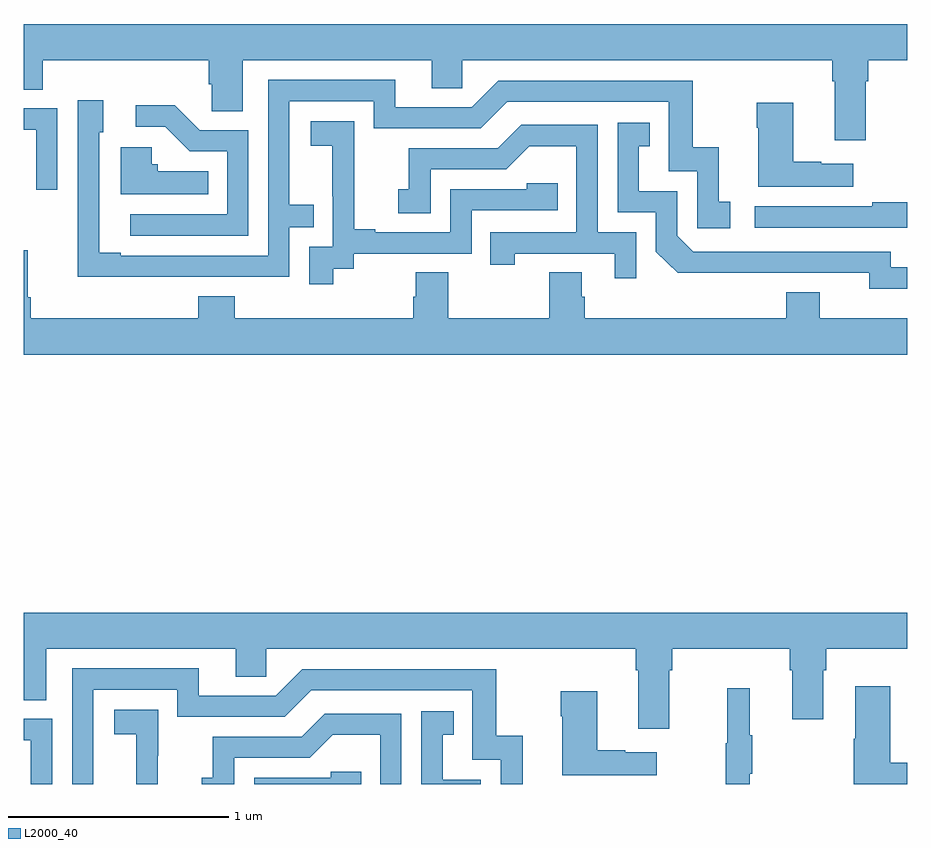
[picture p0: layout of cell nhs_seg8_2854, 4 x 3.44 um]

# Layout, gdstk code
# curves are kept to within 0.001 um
import gdstk
lib = gdstk.Library(unit=1e-6, precision=1e-09)
def P(c, l, *ps):  # polygons
    for p in ps: c.add(gdstk.Polygon(p, *l))
L2000_40 = (2000, 40)

nhs_seg8_2854 = lib.new_cell('nhs_seg8_2854')
P(nhs_seg8_2854, L2000_40, [(294.811,1107.08),(294.824,1107.08),(294.824,1107.176),(295,1107.176),(295,1107.34),(291,1107.34),(291,1107.043),(291.086,1107.043),(291.086,1107.176),(291.839,1107.176),(291.839,1107.067),(291.852,1107.067),(291.852,1106.944),(291.991,1106.944),(291.991,1107.176),(292.847,1107.176),(292.847,1107.049),(292.986,1107.049),(292.986,1107.176),(294.659,1107.176),(294.659,1107.08),(294.671,1107.08),(294.671,1106.814),(294.811,1106.814)],
  [(291.707,1106.196),(292.203,1106.196),(292.203,1106.421),(292.313,1106.421),(292.313,1106.522),(292.203,1106.522),(292.203,1106.991),(292.584,1106.991),(292.584,1106.868),(293.07,1106.868),(293.19,1106.988),(293.919,1106.988),(293.919,1106.673),(294.048,1106.673),(294.048,1106.415),(294.199,1106.415),(294.199,1106.535),(294.146,1106.535),(294.146,1106.782),(294.028,1106.782),(294.028,1107.084),(293.148,1107.084),(293.028,1106.964),(292.681,1106.964),(292.681,1107.087),(292.107,1107.087),(292.107,1106.292),(291.439,1106.292),(291.439,1106.305),(291.342,1106.305),(291.342,1106.85),(291.361,1106.85),(291.361,1106.995),(291.246,1106.995),(291.246,1106.501),(291.244,1106.501),(291.244,1106.195)],
  [(294.754,1106.707),(294.611,1106.707),(294.611,1106.717),(294.484,1106.717),(294.484,1106.983),(294.319,1106.983),(294.319,1106.87),(294.326,1106.87),(294.326,1106.603),(294.754,1106.603)],
  [(292.017,1106.859),(291.798,1106.859),(291.685,1106.972),(291.507,1106.972),(291.507,1106.874),(291.641,1106.874),(291.752,1106.763),(291.921,1106.763),(291.921,1106.478),(291.483,1106.478),(291.483,1106.382),(292.017,1106.382)],
  [(291.153,1106.958),(291,1106.958),(291,1106.862),(291.057,1106.862),(291.057,1106.589),(291.153,1106.589)],
  [(292.402,1106.233),(292.494,1106.233),(292.494,1106.301),(293.028,1106.301),(293.028,1106.496),(293.417,1106.496),(293.417,1106.619),(293.277,1106.619),(293.277,1106.592),(292.932,1106.592),(292.932,1106.397),(292.591,1106.397),(292.591,1106.41),(292.496,1106.41),(292.496,1106.693),(292.497,1106.693),(292.497,1106.899),(292.299,1106.899),(292.299,1106.789),(292.397,1106.789),(292.397,1106.561),(292.398,1106.561),(292.398,1106.331),(292.293,1106.331),(292.293,1106.163),(292.402,1106.163)],
  [(295,1106.238),(294.924,1106.238),(294.924,1106.31),(294.03,1106.31),(293.958,1106.382),(293.958,1106.583),(293.785,1106.583),(293.785,1106.787),(293.834,1106.787),(293.834,1106.893),(293.688,1106.893),(293.688,1106.487),(293.862,1106.487),(293.862,1106.31),(293.96,1106.213),(294.828,1106.214),(294.828,1106.141),(295,1106.141)],
  [(293.772,1106.397),(293.598,1106.397),(293.598,1106.883),(293.252,1106.883),(293.147,1106.778),(292.744,1106.778),(292.744,1106.593),(292.695,1106.593),(292.695,1106.484),(292.842,1106.484),(292.842,1106.682),(293.184,1106.682),(293.288,1106.786),(293.502,1106.786),(293.502,1106.397),(293.113,1106.397),(293.113,1106.25),(293.224,1106.25),(293.224,1106.301),(293.675,1106.301),(293.675,1106.19),(293.772,1106.19)],
  [(291.836,1106.674),(291.606,1106.674),(291.606,1106.706),(291.579,1106.706),(291.579,1106.782),(291.44,1106.782),(291.44,1106.57),(291.836,1106.57)],
  [(295,1106.534),(294.841,1106.534),(294.841,1106.514),(294.309,1106.514),(294.309,1106.418),(295,1106.418)],
  [(295,1106.008),(294.604,1106.008),(294.604,1106.125),(294.452,1106.125),(294.452,1106.008),(293.54,1106.008),(293.54,1106.106),(293.527,1106.106),(293.527,1106.216),(293.38,1106.216),(293.38,1106.008),(292.923,1106.008),(292.923,1106.216),(292.775,1106.216),(292.775,1106.106),(292.763,1106.106),(292.763,1106.008),(291.956,1106.008),(291.956,1106.107),(291.791,1106.107),(291.791,1106.008),(291.032,1106.008),(291.032,1106.104),(291.019,1106.104),(291.019,1106.317),(291,1106.317),(291,1105.844),(295,1105.844)],
  [(293.923,1104.416),(293.936,1104.416),(293.936,1104.512),(294.467,1104.512),(294.467,1104.416),(294.479,1104.416),(294.479,1104.192),(294.619,1104.192),(294.619,1104.416),(294.632,1104.416),(294.632,1104.512),(295,1104.512),(295,1104.676),(291,1104.676),(291,1104.28),(291.103,1104.28),(291.103,1104.512),(291.959,1104.512),(291.959,1104.385),(292.098,1104.385),(292.098,1104.512),(293.771,1104.512),(293.771,1104.416),(293.783,1104.416),(293.783,1104.15),(293.923,1104.15)],
  [(291.315,1104.327),(291.696,1104.327),(291.696,1104.204),(292.182,1104.204),(292.302,1104.324),(293.031,1104.324),(293.031,1104.009),(293.16,1104.009),(293.16,1103.9),(293.258,1103.9),(293.258,1104.118),(293.14,1104.118),(293.14,1104.42),(292.26,1104.42),(292.14,1104.3),(291.793,1104.3),(291.793,1104.423),(291.219,1104.423),(291.219,1103.9),(291.315,1103.9)],
  [(295,1103.996),(294.923,1103.996),(294.923,1104.343),(294.764,1104.343),(294.764,1104.104),(294.757,1104.104),(294.757,1103.9),(295,1103.9)],
  [(294.287,1103.947),(294.298,1103.947),(294.298,1104.121),(294.287,1104.121),(294.287,1104.334),(294.184,1104.334),(294.184,1104.084),(294.177,1104.084),(294.177,1103.9),(294.287,1103.9)],
  [(293.866,1104.043),(293.723,1104.043),(293.723,1104.053),(293.596,1104.053),(293.596,1104.319),(293.431,1104.319),(293.431,1104.206),(293.438,1104.206),(293.438,1103.939),(293.866,1103.939)],
  [(291.608,1104.029),(291.609,1104.029),(291.609,1104.235),(291.411,1104.235),(291.411,1104.125),(291.509,1104.125),(291.509,1103.9),(291.608,1103.9)],
  [(293.07,1103.919),(292.897,1103.919),(292.897,1104.123),(292.946,1104.123),(292.946,1104.229),(292.8,1104.229),(292.8,1103.9),(293.07,1103.9)],
  [(291.954,1104.018),(292.296,1104.018),(292.4,1104.122),(292.614,1104.122),(292.614,1103.9),(292.71,1103.9),(292.71,1104.219),(292.364,1104.219),(292.259,1104.114),(291.856,1104.114),(291.856,1103.929),(291.807,1103.929),(291.807,1103.9),(291.954,1103.9)],
  [(291.129,1104.195),(291,1104.195),(291,1104.099),(291.033,1104.099),(291.033,1103.9),(291.129,1103.9)],
  [(292.529,1103.955),(292.389,1103.955),(292.389,1103.928),(292.044,1103.928),(292.044,1103.9),(292.529,1103.9)])

lib.write_gds('nhs_seg8_2854.gds')
